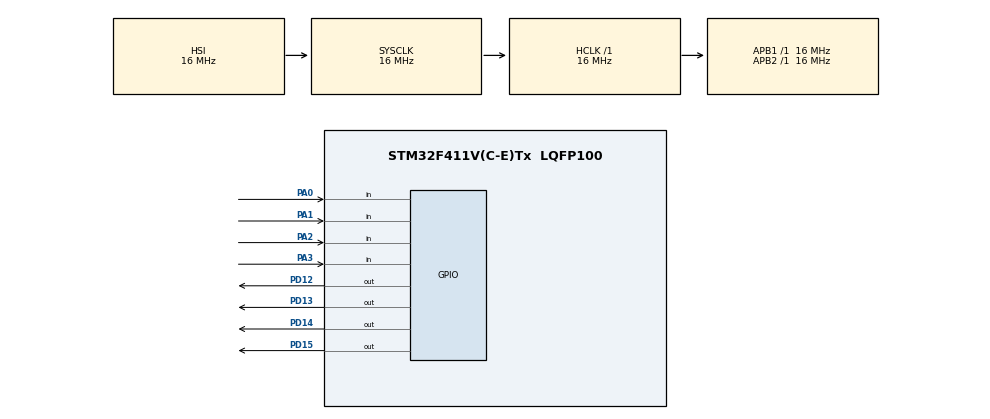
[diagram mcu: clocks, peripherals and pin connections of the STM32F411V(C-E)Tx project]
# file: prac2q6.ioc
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Mcu.Family=STM32F4
Mcu.Name=STM32F411V(C-E)Tx
Mcu.Package=LQFP100
NVIC.PriorityGroup=NVIC_PRIORITYGROUP_4
PA0-WKUP.Signal=GPIO_Input
PA1.Signal=GPIO_Input
PA2.Signal=GPIO_Input
PA3.Signal=GPIO_Input
PD12.Signal=GPIO_Output
PD13.Signal=GPIO_Output
PD14.Signal=GPIO_Output
PD15.Signal=GPIO_Output
ProjectManager.HeapSize=0x200
ProjectManager.StackSize=0x400
ProjectManager.TargetToolchain=STM32CubeIDE
RCC.AHBFreq_Value=16000000
RCC.APB1Freq_Value=16000000
RCC.APB2Freq_Value=16000000
RCC.CortexFreq_Value=16000000
RCC.HSE_VALUE=25000000
RCC.HSI_VALUE=16000000
RCC.LSE_VALUE=32768
RCC.SYSCLKFreq_VALUE=16000000
RCC.VCOOutputFreq_Value=192000000
board=custom

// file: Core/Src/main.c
/* USER CODE BEGIN Header */
/**
  ******************************************************************************
  * @file           : main.c
  * @brief          : Main program body
  ******************************************************************************
  * @attention
  *
  * <h2><center>&copy; Copyright (c) 2020 STMicroelectronics.
  * All rights reserved.</center></h2>
  *
  * This software component is licensed by ST under BSD 3-Clause license,
  * the "License"; You may not use this file except in compliance with the
  * License. You may obtain a copy of the License at:
  *                        opensource.org/licenses/BSD-3-Clause
  *
  ******************************************************************************
  */
/* USER CODE END Header */

#include "main.h"

void SystemClock_Config(void);
static void MX_GPIO_Init(void);

int main(void)
{

  /* MCU Configuration--------------------------------------------------------*/

  /* Reset of all peripherals, Initializes the Flash interface and the Systick. */
  HAL_Init();

  /* Configure the system clock */
  SystemClock_Config();

  /* Initialize all configured peripherals */
  MX_GPIO_Init();

  /* Infinite loop */
  /* USER CODE BEGIN WHILE */
  while (1)
  {
	  if (HAL_GPIO_ReadPin(GPIOA, GPIO_PIN_0)) {
		  HAL_GPIO_WritePin(GPIOD, GPIO_PIN_12, GPIO_PIN_SET);
	  }
	  else {
		  HAL_GPIO_WritePin(GPIOD, GPIO_PIN_12, GPIO_PIN_RESET);
	  }
	  if (HAL_GPIO_ReadPin(GPIOA, GPIO_PIN_1)) {
		  HAL_GPIO_WritePin(GPIOD, GPIO_PIN_13, GPIO_PIN_SET);
	  }
	  else {
		  HAL_GPIO_WritePin(GPIOD, GPIO_PIN_13, GPIO_PIN_RESET);
	  }
	  if (HAL_GPIO_ReadPin(GPIOA, GPIO_PIN_2)) {
		  HAL_GPIO_WritePin(GPIOD, GPIO_PIN_14, GPIO_PIN_SET);
	  }
	  else {
		  HAL_GPIO_WritePin(GPIOD, GPIO_PIN_14, GPIO_PIN_RESET);
	  }
	  if (HAL_GPIO_ReadPin(GPIOA, GPIO_PIN_3)) {
		  HAL_GPIO_WritePin(GPIOD, GPIO_PIN_15, GPIO_PIN_SET);
	  }
	  else {
		  HAL_GPIO_WritePin(GPIOD, GPIO_PIN_15, GPIO_PIN_RESET);
	  }

    /* USER CODE END WHILE */

  }
}

void SystemClock_Config(void)
{
  RCC_OscInitTypeDef RCC_OscInitStruct = {0};
  RCC_ClkInitTypeDef RCC_ClkInitStruct = {0};

  /** Configure the main internal regulator output voltage
  */
  __HAL_RCC_PWR_CLK_ENABLE();
  __HAL_PWR_VOLTAGESCALING_CONFIG(PWR_REGULATOR_VOLTAGE_SCALE1);
  /** Initializes the CPU, AHB and APB busses clocks
  */
  RCC_OscInitStruct.OscillatorType = RCC_OSCILLATORTYPE_HSI;
  RCC_OscInitStruct.HSIState = RCC_HSI_ON;
  RCC_OscInitStruct.HSICalibrationValue = RCC_HSICALIBRATION_DEFAULT;
  RCC_OscInitStruct.PLL.PLLState = RCC_PLL_NONE;
  if (HAL_RCC_OscConfig(&RCC_OscInitStruct) != HAL_OK)
  {
    Error_Handler();
  }
  /** Initializes the CPU, AHB and APB busses clocks
  */
  RCC_ClkInitStruct.ClockType = RCC_CLOCKTYPE_HCLK|RCC_CLOCKTYPE_SYSCLK
                              |RCC_CLOCKTYPE_PCLK1|RCC_CLOCKTYPE_PCLK2;
  RCC_ClkInitStruct.SYSCLKSource = RCC_SYSCLKSOURCE_HSI;
  RCC_ClkInitStruct.AHBCLKDivider = RCC_SYSCLK_DIV1;
  RCC_ClkInitStruct.APB1CLKDivider = RCC_HCLK_DIV1;
  RCC_ClkInitStruct.APB2CLKDivider = RCC_HCLK_DIV1;

  if (HAL_RCC_ClockConfig(&RCC_ClkInitStruct, FLASH_LATENCY_0) != HAL_OK)
  {
    Error_Handler();
  }
}

static void MX_GPIO_Init(void)
{
  GPIO_InitTypeDef GPIO_InitStruct = {0};

  /* GPIO Ports Clock Enable */
  __HAL_RCC_GPIOA_CLK_ENABLE();
  __HAL_RCC_GPIOD_CLK_ENABLE();

  /*Configure GPIO pin Output Level */
  HAL_GPIO_WritePin(GPIOD, GPIO_PIN_12|GPIO_PIN_13|GPIO_PIN_14|GPIO_PIN_15, GPIO_PIN_RESET);

  /*Configure GPIO pins : PA0 PA1 PA2 PA3 */
  GPIO_InitStruct.Pin = GPIO_PIN_0|GPIO_PIN_1|GPIO_PIN_2|GPIO_PIN_3;
  GPIO_InitStruct.Mode = GPIO_MODE_INPUT;
  GPIO_InitStruct.Pull = GPIO_NOPULL;
  HAL_GPIO_Init(GPIOA, &GPIO_InitStruct);

  /*Configure GPIO pins : PD12 PD13 PD14 PD15 */
  GPIO_InitStruct.Pin = GPIO_PIN_12|GPIO_PIN_13|GPIO_PIN_14|GPIO_PIN_15;
  GPIO_InitStruct.Mode = GPIO_MODE_OUTPUT_PP;
  GPIO_InitStruct.Pull = GPIO_NOPULL;
  GPIO_InitStruct.Speed = GPIO_SPEED_FREQ_LOW;
  HAL_GPIO_Init(GPIOD, &GPIO_InitStruct);

}

void Error_Handler(void)
{
}

/************************ (C) COPYRIGHT STMicroelectronics *****END OF FILE****/
